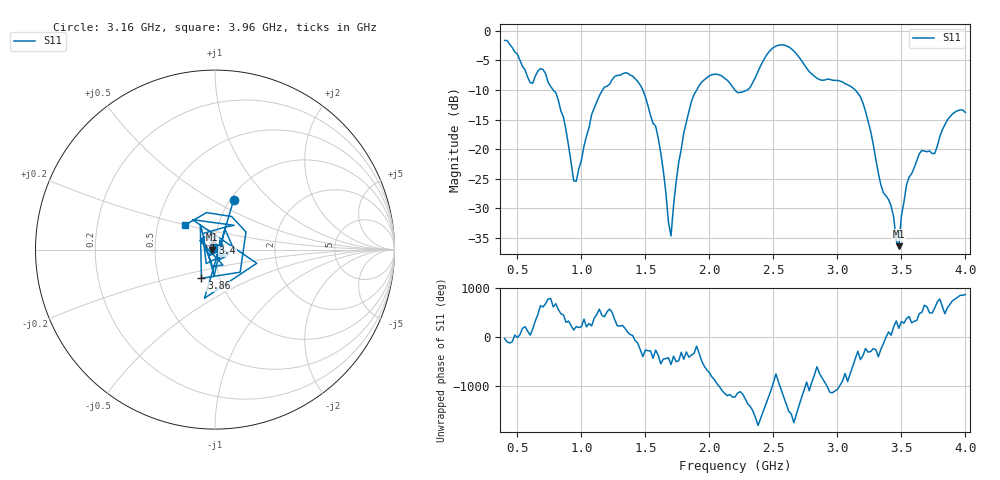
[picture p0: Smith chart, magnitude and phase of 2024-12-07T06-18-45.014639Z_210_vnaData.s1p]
!Created with skrf (http://scikit-rf.org).
# Hz S RI R 50.0
!freq ReS11 ImS11
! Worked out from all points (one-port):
!   181 points, 400 MHz to 4 GHz, reference 50 ohm
!   lowest |S11| = -36.4 dB at 3.48 GHz (marker M1), VSWR 1.03, Z = 48.5 + j0.00904 ohm
!   |S11| at or under -10 dB: 779.5 MHz to 1.166 GHz (386.2 MHz wide, 39.7 % of centre); 1.48 GHz to 1.9 GHz (420.3 MHz wide, 24.9 % of centre); 3.139 GHz to end of sweep (the widest 3 of 4)
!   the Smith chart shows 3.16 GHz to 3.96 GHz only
!   S11 on the Smith chart (normalised r, x): 3.16 GHz: 1.04, +0.63; 3.4 GHz: 0.98, +0.07; 3.86 GHz: 0.82, -0.27; 3.96 GHz: 0.69, +0.20
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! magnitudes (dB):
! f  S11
! 400 MHz  -1.6
! 600 MHz  -8.8
! 700 MHz  -6.5
! 860 MHz  -14.6
! 960 MHz  -25.4
! 1.1 GHz  -13.1
! 1.3 GHz  -7.5
! 1.46 GHz  -9.2
! 1.58 GHz  -16.1
! 1.7 GHz  -34.7
! 1.76 GHz  -22.3
! 1.86 GHz  -11.9
! 1.94 GHz  -8.7
! 2.2 GHz  -10.0
! 2.32 GHz  -9.5
! 2.5 GHz  -2.8
! 2.66 GHz  -3.4
! 3.1 GHz  -9.3
! 3.16 GHz  -10.5
! 3.4 GHz  -28.5
! 3.48 GHz  -36.4
! 3.5 GHz  -31.3
! 3.56 GHz  -24.8
! 3.66 GHz  -20.2
! 3.76 GHz  -20.7
! 3.86 GHz  -15.0
! 3.96 GHz  -13.4
! 4 GHz  -13.8
